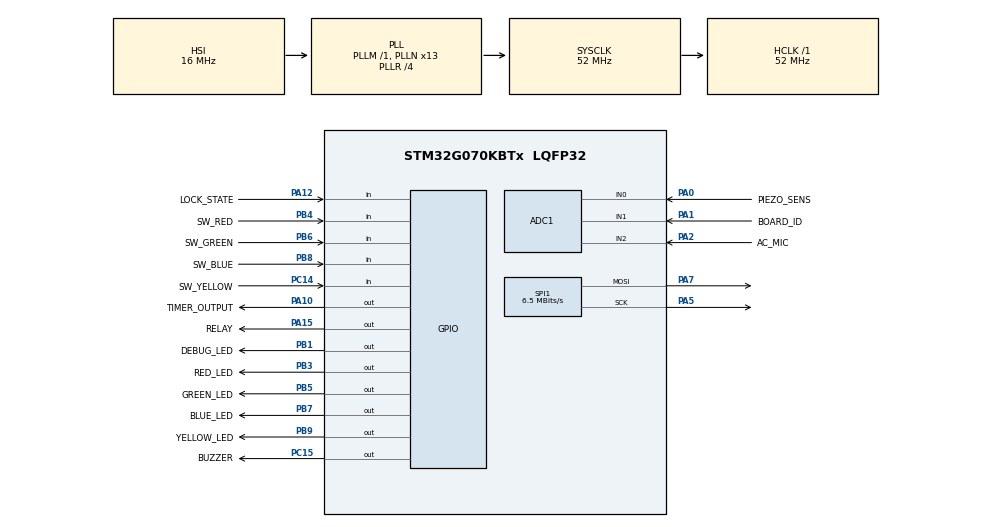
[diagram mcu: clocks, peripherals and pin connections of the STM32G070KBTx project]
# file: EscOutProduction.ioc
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ADC1.Channel-0\#ChannelRegularConversion=ADC_CHANNEL_0
ADC1.NbrOfConversion=1
ADC1.NbrOfConversionFlag=1
ADC1.Rank-0\#ChannelRegularConversion=1
ADC1.SamplingTime-0\#ChannelRegularConversion=ADC_SAMPLINGTIME_COMMON_1
ADC1.SamplingTimeCommon1=ADC_SAMPLETIME_160CYCLES_5
ADC1.SamplingTimeCommon2=ADC_SAMPLETIME_1CYCLE_5
ADC1.SelectedChannel=ADC_CHANNEL_0|ADC_CHANNEL_1|ADC_CHANNEL_2
ADC1.master=1
Dma.Request0=SPI1_TX
Dma.SPI1_TX.0.Direction=DMA_MEMORY_TO_PERIPH
Dma.SPI1_TX.0.EventEnable=DISABLE
Dma.SPI1_TX.0.Instance=DMA1_Channel1
Dma.SPI1_TX.0.MemDataAlignment=DMA_MDATAALIGN_BYTE
Dma.SPI1_TX.0.MemInc=DMA_MINC_ENABLE
Dma.SPI1_TX.0.Mode=DMA_NORMAL
Dma.SPI1_TX.0.PeriphDataAlignment=DMA_PDATAALIGN_BYTE
Dma.SPI1_TX.0.PeriphInc=DMA_PINC_DISABLE
Dma.SPI1_TX.0.Polarity=HAL_DMAMUX_REQ_GEN_RISING
Dma.SPI1_TX.0.Priority=DMA_PRIORITY_VERY_HIGH
Dma.SPI1_TX.0.RequestNumber=1
Dma.SPI1_TX.0.SignalID=NONE
Dma.SPI1_TX.0.SyncEnable=DISABLE
Dma.SPI1_TX.0.SyncPolarity=HAL_DMAMUX_SYNC_NO_EVENT
Dma.SPI1_TX.0.SyncRequestNumber=1
Dma.SPI1_TX.0.SyncSignalID=NONE
IWDG.Prescaler=IWDG_PRESCALER_8
Mcu.Family=STM32G0
Mcu.Name=STM32G070KBTx
Mcu.Package=LQFP32
NVIC.DMA1_Channel1_IRQn=true\:0\:0\:false\:false\:true\:false\:true\:true
NVIC.TIM1_BRK_UP_TRG_COM_IRQn=true\:0\:0\:false\:true\:true\:1\:true\:true\:true
PA0.GPIO_Label=PIEZO_SENS
PA0.Mode=IN0
PA0.Signal=ADC1_IN0
PA1.GPIO_Label=BOARD_ID
PA1.Mode=IN1
PA1.Signal=ADC1_IN1
PA10.GPIO_FMPA10=SYSCFG_FASTMODEPLUS_PA10
PA10.GPIO_Label=TIMER_OUTPUT
PA10.GPIO_Speed=GPIO_SPEED_FREQ_VERY_HIGH
PA10.Signal=GPIO_Output
PA12\ [PA10].GPIO_Label=LOCK_STATE
PA12\ [PA10].Signal=GPIO_Input
PA13.Mode=Serial_Wire
PA13.Signal=SYS_SWDIO
PA14-BOOT0.Mode=Serial_Wire
PA14-BOOT0.Signal=SYS_SWCLK
PA15.GPIO_Label=RELAY
PA15.Signal=GPIO_Output
PA2.GPIO_Label=AC_MIC
PA2.Mode=IN2
PA2.Signal=ADC1_IN2
PA5.Mode=TX_Only_Simplex_Unidirect_Master
PA5.Signal=SPI1_SCK
PA7.Mode=TX_Only_Simplex_Unidirect_Master
PA7.Signal=SPI1_MOSI
PB1.GPIO_Label=DEBUG_LED
PB1.Signal=GPIO_Output
PB3.GPIO_Label=RED_LED
PB3.Signal=GPIO_Output
PB4.GPIO_Label=SW_RED
PB4.Signal=GPIO_Input
PB5.GPIO_Label=GREEN_LED
PB5.Signal=GPIO_Output
PB6.GPIO_Label=SW_GREEN
PB6.Signal=GPIO_Input
PB7.GPIO_Label=BLUE_LED
PB7.Signal=GPIO_Output
PB8.GPIO_Label=SW_BLUE
PB8.Signal=GPIO_Input
PB9.GPIO_Label=YELLOW_LED
PB9.Signal=GPIO_Output
PC14-OSC32_IN\ (PC14).GPIO_Label=SW_YELLOW
PC14-OSC32_IN\ (PC14).Signal=GPIO_Input
PC15-OSC32_OUT\ (PC15).GPIO_Label=BUZZER
PC15-OSC32_OUT\ (PC15).Signal=GPIO_Output
ProjectManager.HeapSize=0x200
ProjectManager.StackSize=0x400
ProjectManager.TargetToolchain=STM32CubeIDE
RCC.ADCCLockSelection=RCC_ADCCLKSOURCE_HSI
RCC.ADCFreq_Value=16000000
RCC.AHBFreq_Value=52000000
RCC.CortexFreq_Value=52000000
RCC.EXTERNAL_CLOCK_VALUE=48000
RCC.HCLKFreq_Value=52000000
RCC.HSE_VALUE=8000000
RCC.HSI_VALUE=16000000
RCC.LSE_VALUE=32768
RCC.PLLN=13
RCC.PLLR=RCC_PLLR_DIV4
RCC.SYSCLKFreq_VALUE=52000000
RCC.SYSCLKSource=RCC_SYSCLKSOURCE_PLLCLK
RCC.VCOOutputFreq_Value=208000000
SPI1.BaudRatePrescaler=SPI_BAUDRATEPRESCALER_8
SPI1.CalculateBaudRate=6.5 MBits/s
SPI1.DataSize=SPI_DATASIZE_8BIT
SPI1.Direction=SPI_DIRECTION_2LINES
SPI1.Mode=SPI_MODE_MASTER
SPI1.NSSPMode=SPI_NSS_PULSE_DISABLE
SPI1.VirtualType=VM_MASTER
TIM1.Period=86
TIM1.Prescaler=124
VP_IWDG_VS_IWDG.Mode=IWDG_Activate
VP_SYS_VS_DBSignals.Mode=DisableDeadBatterySignals
VP_TIM1_VS_ClockSourceINT.Mode=Internal
board=custom

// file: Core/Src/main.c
/* USER CODE BEGIN Header */
/**
  ******************************************************************************
  * @file           : main.c
  * @brief          : Main program body
  ******************************************************************************
  * @attention
  *
  * Copyright (c) 2023 STMicroelectronics.
  * All rights reserved.
  *
  * This software is licensed under terms that can be found in the LICENSE file
  * in the root directory of this software component.
  * If no LICENSE file comes with this software, it is provided AS-IS.
  *
  ******************************************************************************
  */
/* USER CODE END Header */
#include "main.h"
#include "adc.h"
#include "dma.h"
#include "iwdg.h"
#include "spi.h"
#include "tim.h"
#include "gpio.h"

/* USER CODE BEGIN Includes */
#include "application/knocking.h"
#include "application/shout_led.h"
#include "application/door.h"
#include "application/switch_game.h"
#include "application/board_id.h"
#include "application/buzzer.h"
#include "application/watchdog.h"
#include "application/reset.h"
/* USER CODE END Includes */

/* USER CODE BEGIN PD */
#define ERROR_BLINK_DELAY 100
/* USER CODE END PD */

/* USER CODE BEGIN PV */
board_id_t board_id = BOARD_NOT_DEFINED;
/* USER CODE END PV */

void SystemClock_Config(void);
static void MX_NVIC_Init(void);
/* USER CODE BEGIN PFP */
void DEBUG_LED_Blink(uint8_t blink_times);
/* USER CODE END PFP */

int main(void)
{

  /* MCU Configuration--------------------------------------------------------*/

  /* Reset of all peripherals, Initializes the Flash interface and the Systick. */
  HAL_Init();

  /* Configure the system clock */
  SystemClock_Config();

  /* Initialize all configured peripherals */
  MX_GPIO_Init();
  MX_ADC1_Init();
  MX_DMA_Init();
  MX_SPI1_Init();
  MX_TIM1_Init();
  MX_IWDG_Init();

  /* Initialize interrupts */
  MX_NVIC_Init();
  /* USER CODE BEGIN 2 */
  __HAL_DBGMCU_FREEZE_IWDG();
  BOARD_ID_Init(&hadc1, ADC_CHANNEL_1);
  board_id = BOARD_ID_GetBoardID();
  if(board_id == BOARD_IS_KNOCKING)
  {
	  KNOCKING_Init();
	  DEBUG_LED_Blink(1);
  }
  else if(board_id == BOARD_IS_SHOUT_LED)
  {
	  ShoutLED_Init();
	  DEBUG_LED_Blink(2);
  }
  else if(board_id == BOARD_IS_SWITCH_GAME)
  {
	  SWITCH_GAME_Init();
	  DEBUG_LED_Blink(3);
  }
  else
  {
	  board_id = BOARD_NOT_DEFINED;
	  DEBUG_LED_Blink(4);
  }

  if(reset_cause_get() != RESET_CAUSE_INDEPENDENT_WATCHDOG_RESET)
  {
	  if(BOARD_IS_KNOCKING)
	  {
		  DOOR_Open();
	  }
  }

  uint32_t error_tick = 0;
  /* USER CODE END 2 */

  /* Infinite loop */
  /* USER CODE BEGIN WHILE */
  while (1)
  {
	  switch (board_id) {
		case BOARD_IS_KNOCKING:
			KNOCKING_Process();
			DOOR_Process(LOCK);
			break;

		case BOARD_IS_SHOUT_LED:
			ShoutLED_Process();
			DOOR_Process(ELECTROMAGNET);
			break;

		case BOARD_IS_SWITCH_GAME:
			SWITCH_GAME_Process();
			DOOR_Process(ELECTROMAGNET);
			break;

		case BOARD_NOT_DEFINED:
			if(HAL_GetTick() - error_tick > ERROR_BLINK_DELAY)
			{
				HAL_GPIO_TogglePin(DEBUG_LED_GPIO_Port, DEBUG_LED_Pin);
				error_tick = HAL_GetTick();
			}
			break;
	}

	WATCHDOG_Refresh();
    /* USER CODE END WHILE */

  }
}

void SystemClock_Config(void)
{
  RCC_OscInitTypeDef RCC_OscInitStruct = {0};
  RCC_ClkInitTypeDef RCC_ClkInitStruct = {0};

  /** Configure the main internal regulator output voltage
  */
  HAL_PWREx_ControlVoltageScaling(PWR_REGULATOR_VOLTAGE_SCALE1);

  /** Initializes the RCC Oscillators according to the specified parameters
  * in the RCC_OscInitTypeDef structure.
  */
  RCC_OscInitStruct.OscillatorType = RCC_OSCILLATORTYPE_HSI|RCC_OSCILLATORTYPE_LSI;
  RCC_OscInitStruct.HSIState = RCC_HSI_ON;
  RCC_OscInitStruct.HSIDiv = RCC_HSI_DIV1;
  RCC_OscInitStruct.HSICalibrationValue = RCC_HSICALIBRATION_DEFAULT;
  RCC_OscInitStruct.LSIState = RCC_LSI_ON;
  RCC_OscInitStruct.PLL.PLLState = RCC_PLL_ON;
  RCC_OscInitStruct.PLL.PLLSource = RCC_PLLSOURCE_HSI;
  RCC_OscInitStruct.PLL.PLLM = RCC_PLLM_DIV1;
  RCC_OscInitStruct.PLL.PLLN = 13;
  RCC_OscInitStruct.PLL.PLLP = RCC_PLLP_DIV2;
  RCC_OscInitStruct.PLL.PLLR = RCC_PLLR_DIV4;
  if (HAL_RCC_OscConfig(&RCC_OscInitStruct) != HAL_OK)
  {
    Error_Handler();
  }

  /** Initializes the CPU, AHB and APB buses clocks
  */
  RCC_ClkInitStruct.ClockType = RCC_CLOCKTYPE_HCLK|RCC_CLOCKTYPE_SYSCLK
                              |RCC_CLOCKTYPE_PCLK1;
  RCC_ClkInitStruct.SYSCLKSource = RCC_SYSCLKSOURCE_PLLCLK;
  RCC_ClkInitStruct.AHBCLKDivider = RCC_SYSCLK_DIV1;
  RCC_ClkInitStruct.APB1CLKDivider = RCC_HCLK_DIV1;

  if (HAL_RCC_ClockConfig(&RCC_ClkInitStruct, FLASH_LATENCY_2) != HAL_OK)
  {
    Error_Handler();
  }
}

/**
  * @brief NVIC Configuration.
  * @retval None
  */
static void MX_NVIC_Init(void)
{
  /* TIM1_BRK_UP_TRG_COM_IRQn interrupt configuration */
  HAL_NVIC_SetPriority(TIM1_BRK_UP_TRG_COM_IRQn, 0, 0);
  HAL_NVIC_EnableIRQ(TIM1_BRK_UP_TRG_COM_IRQn);
}

/* USER CODE BEGIN 4 */
void DEBUG_LED_Blink(uint8_t blink_times)
{
	for(uint8_t i=0; i<blink_times*2; i++)
	{
		HAL_GPIO_TogglePin(DEBUG_LED_GPIO_Port, DEBUG_LED_Pin);
		HAL_Delay(250);
		WATCHDOG_Refresh();
	}
}
/* USER CODE END 4 */

void Error_Handler(void)
{
  __disable_irq();
  while (1)
  {
  }
}
